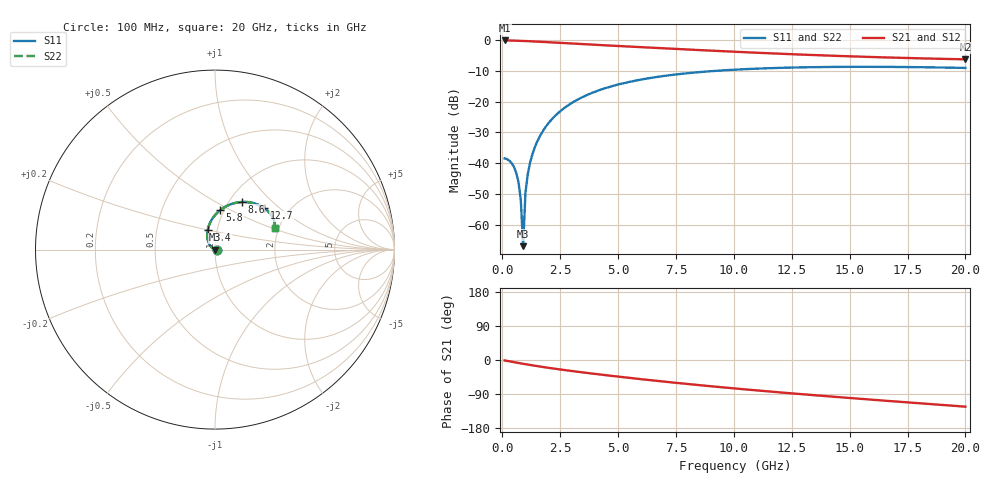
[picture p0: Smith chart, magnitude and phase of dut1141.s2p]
! Touchstone file exported from HFSS 2024.1.0
!  File:  C:/UserFiles/LocalFiles/RDL_TSV_Batchsim/temp_RDL_TSV_1141_1780114095.aedt
!  Generated:  12:21:40 PM May 30, 2026
!  Design:  RDL_TSV
!  Project:  temp_RDL_TSV_1141_1780114095
!  Setup:  Setup1
!  Solution:  Sweep
! Variables:
!  dtsv = 10.52um
!  hbump = 3um
!  htsv = 57.94um
!  ldown = 177.3um
!  lrdl = 272.32um
!  p = 40
!  p1 = 48.56um
!  rhole = 10um
!  subl = 1621.18um
!  t = 450um
!  tdown = 4.84um
!  trdl = 2.14um
!  viad = 10um
!  wdown = 10.4um
!  wrdl = 24.04um
!  xbump = 18um
# GHz S MA R 50.000000
! Terminal data exported
! Port[1] = TM1_1_T1
! Port[2] = TM1_4_T1
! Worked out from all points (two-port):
!   200 points, 100 MHz to 20 GHz, reference 50 ohm
!   highest |S21| = -0.11 dB at 100 MHz (marker M1); lowest = -6.3 dB at 20 GHz (marker M2)
!   |S21| within 3 dB of the highest: start of sweep to 8.152 GHz
!   lowest |S11| = -67.0 dB at 900 MHz (marker M3), VSWR 1.00, Z = 50 - j0.0255 ohm
!   |S11| at or under -10 dB: start of sweep to 9.206 GHz
!   |S22| runs from -67.1 to -8.7 dB; largest |S21 - S12| = 6.8e-14
!   S11 on the Smith chart (normalised r, x): 100 MHz: 1.02, -0.00; 3.4 GHz: 0.90, +0.20; 5.8 GHz: 0.96, +0.44; 8.6 GHz: 1.14, +0.67; 12.7 GHz: 1.51, +0.80; 20 GHz: 1.90, +0.52
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0.1  0.01193 -1.3  0.9876 -1.2  0.9876 -1.2  0.01193 -1.3
! Gamma 0 0 0 0
! Port Impedance 50 0 50 0
0.3  0.011 -4.9  0.9853 -3.5  0.9853 -3.5  0.011 -4.9
0.5  0.008696 -10.3  0.9813 -5.7  0.9813 -5.7  0.0087 -10.3
0.7  0.004906 -17.5  0.9761 -7.9  0.9761 -7.9  0.004915 -17.6
0.8  0.002499 -24.3  0.9731 -9.0  0.9731 -9.0  0.002511 -24.4
0.9  0.0004451 -145.0  0.9698 -10.0  0.9698 -10.0  0.0004403 -143.2
1  0.003311 164.8  0.9663 -11.1  0.9663 -11.1  0.003294 164.9
1.1  0.006598 159.1  0.9627 -12.1  0.9627 -12.1  0.006578 159.1
1.2  0.01014 155.4  0.9588 -13.1  0.9588 -13.1  0.01011 155.4
1.4  0.01787 149.6  0.9507 -15.1  0.9507 -15.1  0.01783 149.6
1.7  0.03077 142.1  0.9377 -18.0  0.9377 -18.0  0.03072 142.2
2.2  0.05458 131.4  0.9153 -22.4  0.9153 -22.4  0.05452 131.4
3.4  0.1152 110.8  0.8635 -32.2  0.8635 -32.2  0.1151 110.8
3.5  0.1202 109.3  0.8594 -32.9  0.8594 -32.9  0.1201 109.3
5.8  0.2213 82.6  0.7744 -49.3  0.7744 -49.3  0.221 82.6
6.8  0.2558 73.9  0.7412 -55.8  0.7412 -55.8  0.2555 73.9
8.6  0.3038 60.9  0.6861 -66.9  0.6861 -66.9  0.3034 60.9
10.1  0.3316 52.1  0.6452 -75.4  0.6452 -75.4  0.3313 52.1
12.7  0.3594 39.9  0.5859 -89.1  0.5859 -89.1  0.359 39.9
13.4  0.3633 37.2  0.5724 -92.6  0.5724 -92.6  0.3629 37.1
16.7  0.3669 26.7  0.5212 -108.2  0.5212 -108.2  0.3664 26.7
20  0.3531 19.7  0.4869 -123.1  0.4869 -123.1  0.3525 19.7
